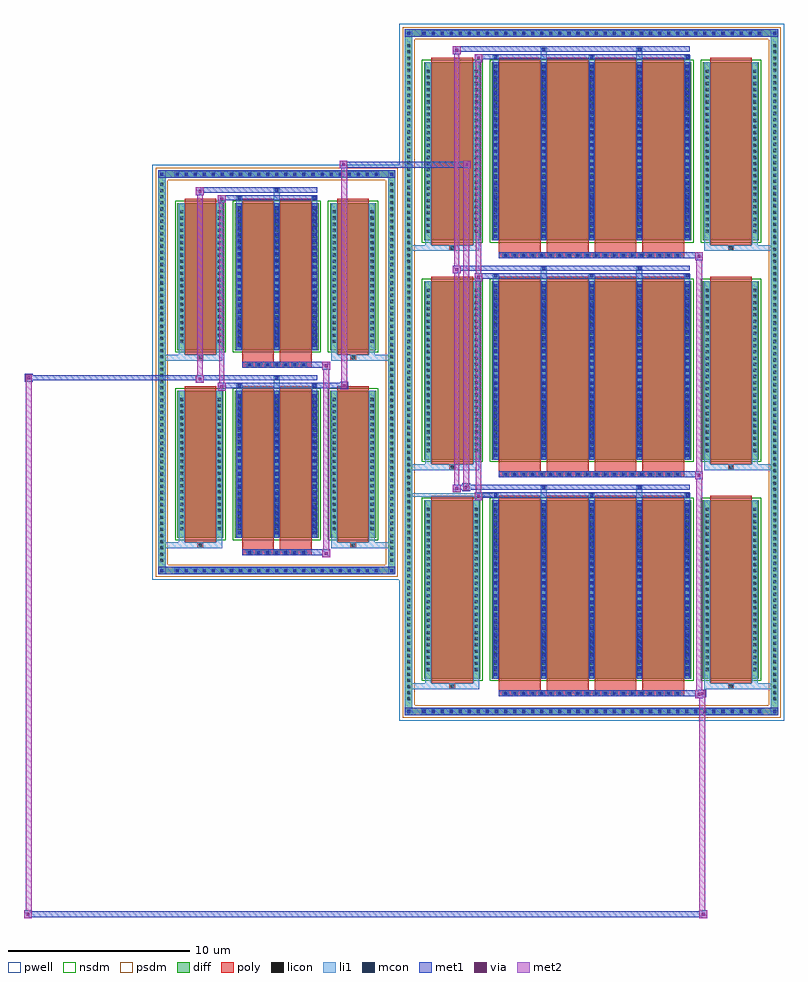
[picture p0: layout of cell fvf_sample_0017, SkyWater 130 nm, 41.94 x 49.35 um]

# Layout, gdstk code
import gdstk
lib = gdstk.Library(unit=1e-6, precision=1e-09)
def R(c, l, rs):  # rectangles x0, y0, x1, y1
    for r in rs: c.add(gdstk.rectangle(r[:2], r[2:], *l))
def A(c, l, x, y, w, h, nx, ny, dx, dy):  # array of equal rectangles
    R(c, l, [(x+i*dx, y+j*dy, x+i*dx+w, y+j*dy+h) for i in range(nx) for j in range(ny)])
def P(c, l, *ps):  # polygons
    for p in ps: c.add(gdstk.Polygon(p, *l))
pwell = (64, 44)
diff = (65, 20)
poly = (66, 20)
licon = (66, 44)
li1 = (67, 20)
mcon = (67, 44)
met1 = (68, 20)
via = (68, 44)
met2 = (69, 20)
nsdm = (93, 44)
psdm = (94, 20)

fvf_sample_0017 = lib.new_cell('fvf_sample_0017')
R(fvf_sample_0017, pwell, [(6.759,-19.232,27.989,19.232), (-6.859,-11.456,6.859,11.456)])
A(fvf_sample_0017, diff, 7.919, -18.922, 0.41, 0.41, 38, 2, 0.5, 37.434)
A(fvf_sample_0017, diff, 7.069, -18.225, 0.41, 0.41, 1, 107, 0, 0.34)
A(fvf_sample_0017, diff, 27.269, -18.225, 0.41, 0.41, 1, 107, 0, 0.34)
A(fvf_sample_0017, diff, 8.139, -16.901, 3.09, 9.842, 1, 3, 0, 12.088)
A(fvf_sample_0017, diff, 11.869, -16.901, 11.01, 9.842, 1, 3, 0, 12.088)
A(fvf_sample_0017, diff, 23.519, -16.901, 3.09, 9.842, 1, 3, 0, 12.088)
A(fvf_sample_0017, diff, -5.705, -11.146, 0.41, 0.41, 23, 2, 0.5, 21.882)
A(fvf_sample_0017, diff, -6.549, -10.575, 0.41, 0.41, 1, 62, 0, 0.34)
A(fvf_sample_0017, diff, 6.139, -10.575, 0.41, 0.41, 1, 62, 0, 0.34)
R(fvf_sample_0017, diff, [(7.919,-18.922,26.829,-18.512), (7.069,-18.225,7.479,18.225), (27.269,-18.225,27.679,18.225), (-5.705,-11.146,5.705,-10.736), (-6.549,-10.575,-6.139,10.575), (6.139,-10.575,6.549,10.575), (-5.479,-9.125,-2.947,-1.015), (-2.307,-9.125,2.307,-1.015), (2.947,-9.125,5.479,-1.015), (-5.479,1.231,-2.947,9.341), (-2.307,1.231,2.307,9.341), (2.947,1.231,5.479,9.341), (-5.705,10.736,5.705,11.146), (7.919,18.512,26.829,18.922)])
P(fvf_sample_0017, diff, [(6.549,11.146),(-6.549,11.146),(-6.549,-10.736),(-6.139,-10.736),(-6.139,10.736),(6.139,10.736),(6.139,-10.736),(-6.139,-10.736),(-6.549,-10.736),(-6.549,-11.146),(6.549,-11.146)],
  [(27.679,18.922),(7.069,18.922),(7.069,-18.512),(7.479,-18.512),(7.479,18.512),(27.269,18.512),(27.269,-18.512),(7.479,-18.512),(7.069,-18.512),(7.069,-18.922),(27.679,-18.922)])
A(fvf_sample_0017, poly, 12.259, -17.882, 10.23, 0.33, 1, 3, 0, 12.088)
A(fvf_sample_0017, poly, 12.459, -17.882, 0.33, 0.33, 20, 3, 0.5, 12.088)
A(fvf_sample_0017, poly, 12.259, -17.552, 2.31, 0.401, 4, 3, 2.64, 12.088)
A(fvf_sample_0017, poly, 8.529, -17.151, 2.31, 10.342, 1, 3, 0, 12.088)
A(fvf_sample_0017, poly, 12.259, -17.151, 2.31, 10.342, 4, 3, 2.64, 12.088)
A(fvf_sample_0017, poly, 23.909, -17.151, 2.31, 10.342, 1, 3, 0, 12.088)
A(fvf_sample_0017, poly, -1.665, -10.106, 0.33, 0.33, 7, 2, 0.5, 10.356)
R(fvf_sample_0017, poly, [(9.519,-17.481,9.849,-17.151), (9.519,-17.481,9.849,-17.151), (24.899,-17.481,25.229,-17.151), (24.899,-17.481,25.229,-17.151), (-1.917,-10.106,1.917,-9.776), (-1.917,-9.776,-0.165,-9.375), (0.165,-9.776,1.917,-9.375), (-4.378,-9.705,-4.048,-9.375), (-4.378,-9.705,-4.048,-9.375), (4.048,-9.705,4.378,-9.375), (4.048,-9.705,4.378,-9.375), (-5.089,-9.375,-3.337,-0.765), (-1.917,-9.375,-0.165,-0.765), (0.165,-9.375,1.917,-0.765), (3.337,-9.375,5.089,-0.765), (9.519,-5.393,9.849,-5.063), (9.519,-5.393,9.849,-5.063), (24.899,-5.393,25.229,-5.063), (24.899,-5.393,25.229,-5.063), (-1.917,0.25,1.917,0.58), (-1.917,0.58,-0.165,0.981), (0.165,0.58,1.917,0.981), (-4.378,0.651,-4.048,0.981), (-4.378,0.651,-4.048,0.981), (4.048,0.651,4.378,0.981), (4.048,0.651,4.378,0.981), (-5.089,0.981,-3.337,9.591), (-1.917,0.981,-0.165,9.591), (0.165,0.981,1.917,9.591), (3.337,0.981,5.089,9.591), (9.519,6.695,9.849,7.025), (9.519,6.695,9.849,7.025), (24.899,6.695,25.229,7.025), (24.899,6.695,25.229,7.025)])
A(fvf_sample_0017, licon, 8.039, -18.802, 0.17, 0.17, 38, 2, 0.5, 37.434)
A(fvf_sample_0017, licon, 7.189, -18.105, 0.17, 0.17, 1, 107, 0, 0.34)
A(fvf_sample_0017, licon, 27.389, -18.105, 0.17, 0.17, 1, 107, 0, 0.34)
A(fvf_sample_0017, licon, 12.539, -17.802, 0.17, 0.17, 20, 3, 0.5, 12.088)
A(fvf_sample_0017, licon, 9.599, -17.401, 0.17, 0.17, 1, 3, 0, 12.088)
A(fvf_sample_0017, licon, 24.979, -17.401, 0.17, 0.17, 1, 3, 0, 12.088)
A(fvf_sample_0017, licon, 8.279, -16.485, 0.17, 0.17, 1, 27, 0, 0.34)
A(fvf_sample_0017, licon, 10.919, -16.485, 0.17, 0.17, 1, 27, 0, 0.34)
A(fvf_sample_0017, licon, 12.009, -16.485, 0.17, 0.17, 5, 27, 2.64, 0.34)
A(fvf_sample_0017, licon, 23.659, -16.485, 0.17, 0.17, 1, 27, 0, 0.34)
A(fvf_sample_0017, licon, 26.299, -16.485, 0.17, 0.17, 1, 27, 0, 0.34)
A(fvf_sample_0017, licon, -5.585, -11.026, 0.17, 0.17, 23, 2, 0.5, 21.882)
A(fvf_sample_0017, licon, -6.429, -10.455, 0.17, 0.17, 1, 62, 0, 0.34)
A(fvf_sample_0017, licon, 6.259, -10.455, 0.17, 0.17, 1, 62, 0, 0.34)
A(fvf_sample_0017, licon, -1.585, -10.026, 0.17, 0.17, 7, 2, 0.5, 10.356)
A(fvf_sample_0017, licon, -5.339, -8.725, 0.17, 0.17, 1, 22, 0, 0.34)
A(fvf_sample_0017, licon, -3.257, -8.725, 0.17, 0.17, 1, 22, 0, 0.34)
A(fvf_sample_0017, licon, -2.167, -8.725, 0.17, 0.17, 3, 22, 2.082, 0.34)
A(fvf_sample_0017, licon, 3.087, -8.725, 0.17, 0.17, 1, 22, 0, 0.34)
A(fvf_sample_0017, licon, 5.169, -8.725, 0.17, 0.17, 1, 22, 0, 0.34)
A(fvf_sample_0017, licon, 8.279, -4.397, 0.17, 0.17, 1, 27, 0, 0.34)
A(fvf_sample_0017, licon, 10.919, -4.397, 0.17, 0.17, 1, 27, 0, 0.34)
A(fvf_sample_0017, licon, 12.009, -4.397, 0.17, 0.17, 5, 27, 2.64, 0.34)
A(fvf_sample_0017, licon, 23.659, -4.397, 0.17, 0.17, 1, 27, 0, 0.34)
A(fvf_sample_0017, licon, 26.299, -4.397, 0.17, 0.17, 1, 27, 0, 0.34)
A(fvf_sample_0017, licon, -5.339, 1.631, 0.17, 0.17, 1, 22, 0, 0.34)
A(fvf_sample_0017, licon, -3.257, 1.631, 0.17, 0.17, 1, 22, 0, 0.34)
A(fvf_sample_0017, licon, -2.167, 1.631, 0.17, 0.17, 3, 22, 2.082, 0.34)
A(fvf_sample_0017, licon, 3.087, 1.631, 0.17, 0.17, 1, 22, 0, 0.34)
A(fvf_sample_0017, licon, 5.169, 1.631, 0.17, 0.17, 1, 22, 0, 0.34)
A(fvf_sample_0017, licon, 8.279, 7.691, 0.17, 0.17, 1, 27, 0, 0.34)
A(fvf_sample_0017, licon, 10.919, 7.691, 0.17, 0.17, 1, 27, 0, 0.34)
A(fvf_sample_0017, licon, 12.009, 7.691, 0.17, 0.17, 5, 27, 2.64, 0.34)
A(fvf_sample_0017, licon, 23.659, 7.691, 0.17, 0.17, 1, 27, 0, 0.34)
A(fvf_sample_0017, licon, 26.299, 7.691, 0.17, 0.17, 1, 27, 0, 0.34)
R(fvf_sample_0017, licon, [(-4.298,-9.625,-4.128,-9.455), (4.128,-9.625,4.298,-9.455), (-4.298,0.731,-4.128,0.901), (4.128,0.731,4.298,0.901)])
A(fvf_sample_0017, li1, 7.959, -18.882, 0.33, 0.33, 38, 2, 0.5, 37.434)
A(fvf_sample_0017, li1, 7.109, -18.185, 0.33, 0.33, 1, 107, 0, 0.34)
A(fvf_sample_0017, li1, 27.309, -18.185, 0.33, 0.33, 1, 107, 0, 0.34)
A(fvf_sample_0017, li1, 12.459, -17.882, 0.33, 0.33, 20, 3, 0.5, 12.088)
A(fvf_sample_0017, li1, 7.069, -17.481, 2.45, 0.33, 1, 3, 0, 12.088)
A(fvf_sample_0017, li1, 8.199, -17.481, 0.33, 0.58, 1, 3, 0, 12.088)
A(fvf_sample_0017, li1, 8.199, -17.481, 1.32, 0.33, 1, 3, 0, 12.088)
A(fvf_sample_0017, li1, 9.519, -17.481, 0.33, 0.33, 1, 3, 0, 12.088)
A(fvf_sample_0017, li1, 9.849, -17.481, 1.32, 0.33, 1, 3, 0, 12.088)
A(fvf_sample_0017, li1, 10.839, -17.481, 0.33, 0.58, 1, 3, 0, 12.088)
A(fvf_sample_0017, li1, 23.579, -17.481, 0.33, 0.58, 1, 3, 0, 12.088)
A(fvf_sample_0017, li1, 23.579, -17.481, 1.32, 0.33, 1, 3, 0, 12.088)
A(fvf_sample_0017, li1, 24.899, -17.481, 0.33, 0.33, 1, 3, 0, 12.088)
A(fvf_sample_0017, li1, 24.899, -17.481, 2.78, 0.33, 1, 3, 0, 12.088)
A(fvf_sample_0017, li1, 25.229, -17.481, 1.32, 0.33, 1, 3, 0, 12.088)
A(fvf_sample_0017, li1, 26.219, -17.481, 0.33, 0.58, 1, 3, 0, 12.088)
A(fvf_sample_0017, li1, 8.199, -16.901, 0.33, 9.842, 1, 3, 0, 12.088)
A(fvf_sample_0017, li1, 10.839, -16.901, 0.33, 9.842, 1, 3, 0, 12.088)
A(fvf_sample_0017, li1, 11.929, -16.901, 0.33, 9.842, 5, 3, 2.64, 12.088)
A(fvf_sample_0017, li1, 23.579, -16.901, 0.33, 9.842, 1, 3, 0, 12.088)
A(fvf_sample_0017, li1, 26.219, -16.901, 0.33, 9.842, 1, 3, 0, 12.088)
A(fvf_sample_0017, li1, 12.009, -16.745, 0.17, 0.17, 5, 27, 2.64, 0.36)
A(fvf_sample_0017, li1, 12.009, -16.745, 0.17, 9.53, 5, 3, 2.64, 12.088)
A(fvf_sample_0017, li1, 8.199, -16.565, 0.33, 0.33, 1, 27, 0, 0.34)
A(fvf_sample_0017, li1, 10.839, -16.565, 0.33, 0.33, 1, 27, 0, 0.34)
A(fvf_sample_0017, li1, 11.929, -16.565, 0.33, 0.33, 5, 27, 2.64, 0.34)
A(fvf_sample_0017, li1, 23.579, -16.565, 0.33, 0.33, 1, 27, 0, 0.34)
A(fvf_sample_0017, li1, 26.219, -16.565, 0.33, 0.33, 1, 27, 0, 0.34)
A(fvf_sample_0017, li1, -5.665, -11.106, 0.33, 0.33, 23, 2, 0.5, 21.882)
A(fvf_sample_0017, li1, -6.509, -10.535, 0.33, 0.33, 1, 62, 0, 0.34)
A(fvf_sample_0017, li1, 6.179, -10.535, 0.33, 0.33, 1, 62, 0, 0.34)
A(fvf_sample_0017, li1, -1.665, -10.106, 0.33, 0.33, 7, 2, 0.5, 10.356)
A(fvf_sample_0017, li1, -2.247, -9.125, 0.33, 8.11, 3, 2, 2.082, 10.356)
A(fvf_sample_0017, li1, -2.167, -8.935, 0.17, 0.17, 3, 22, 2.082, 0.36)
A(fvf_sample_0017, li1, -2.167, -8.935, 0.17, 7.73, 3, 2, 2.082, 10.356)
A(fvf_sample_0017, li1, -5.419, -8.805, 0.33, 0.33, 1, 22, 0, 0.34)
A(fvf_sample_0017, li1, -3.337, -8.805, 0.33, 0.33, 1, 22, 0, 0.34)
A(fvf_sample_0017, li1, -2.247, -8.805, 0.33, 0.33, 3, 22, 2.082, 0.34)
A(fvf_sample_0017, li1, 3.007, -8.805, 0.33, 0.33, 1, 22, 0, 0.34)
A(fvf_sample_0017, li1, 5.089, -8.805, 0.33, 0.33, 1, 22, 0, 0.34)
A(fvf_sample_0017, li1, 11.929, -7.059, 0.33, 0.375, 3, 3, 5.28, 12.088)
A(fvf_sample_0017, li1, 14.569, -7.059, 0.33, 0.805, 1, 3, 0, 12.088)
A(fvf_sample_0017, li1, 19.849, -7.059, 0.33, 0.805, 1, 3, 0, 12.088)
A(fvf_sample_0017, li1, 12.009, -6.854, 0.17, 0.17, 3, 3, 5.28, 12.088)
A(fvf_sample_0017, li1, 14.649, -6.424, 0.17, 0.17, 1, 3, 0, 12.088)
A(fvf_sample_0017, li1, 19.929, -6.424, 0.17, 0.17, 1, 3, 0, 12.088)
A(fvf_sample_0017, li1, 12.009, -4.657, 0.17, 0.17, 5, 27, 2.64, 0.36)
A(fvf_sample_0017, li1, 8.199, -4.477, 0.33, 0.33, 1, 27, 0, 0.34)
A(fvf_sample_0017, li1, 10.839, -4.477, 0.33, 0.33, 1, 27, 0, 0.34)
A(fvf_sample_0017, li1, 11.929, -4.477, 0.33, 0.33, 5, 27, 2.64, 0.34)
A(fvf_sample_0017, li1, 23.579, -4.477, 0.33, 0.33, 1, 27, 0, 0.34)
A(fvf_sample_0017, li1, 26.219, -4.477, 0.33, 0.33, 1, 27, 0, 0.34)
A(fvf_sample_0017, li1, -2.167, 1.421, 0.17, 0.17, 3, 22, 2.082, 0.36)
A(fvf_sample_0017, li1, -5.419, 1.551, 0.33, 0.33, 1, 22, 0, 0.34)
A(fvf_sample_0017, li1, -3.337, 1.551, 0.33, 0.33, 1, 22, 0, 0.34)
A(fvf_sample_0017, li1, -2.247, 1.551, 0.33, 0.33, 3, 22, 2.082, 0.34)
A(fvf_sample_0017, li1, 3.007, 1.551, 0.33, 0.33, 1, 22, 0, 0.34)
A(fvf_sample_0017, li1, 5.089, 1.551, 0.33, 0.33, 1, 22, 0, 0.34)
A(fvf_sample_0017, li1, 12.009, 7.431, 0.17, 0.17, 5, 27, 2.64, 0.36)
A(fvf_sample_0017, li1, 8.199, 7.611, 0.33, 0.33, 1, 27, 0, 0.34)
A(fvf_sample_0017, li1, 10.839, 7.611, 0.33, 0.33, 1, 27, 0, 0.34)
A(fvf_sample_0017, li1, 11.929, 7.611, 0.33, 0.33, 5, 27, 2.64, 0.34)
A(fvf_sample_0017, li1, 23.579, 7.611, 0.33, 0.33, 1, 27, 0, 0.34)
A(fvf_sample_0017, li1, 26.219, 7.611, 0.33, 0.33, 1, 27, 0, 0.34)
R(fvf_sample_0017, li1, [(7.069,-18.922,7.479,-18.512), (27.269,-18.922,27.679,-18.512), (7.959,-18.882,26.789,-18.552), (7.189,-18.802,7.359,-18.632), (7.189,-18.802,7.359,-18.632), (27.389,-18.802,27.559,-18.632), (27.389,-18.802,27.559,-18.632), (7.069,-18.512,7.479,18.512), (27.269,-18.512,27.679,18.512), (-6.549,-11.146,-6.139,-10.736), (6.139,-11.146,6.549,-10.736), (-5.665,-11.106,5.665,-10.776), (-6.429,-11.026,-6.259,-10.856), (-6.429,-11.026,-6.259,-10.856), (6.259,-11.026,6.429,-10.856), (6.259,-11.026,6.429,-10.856), (-6.549,-10.736,-6.139,10.736), (6.139,-10.736,6.549,10.736), (-6.549,-9.705,-4.378,-9.375), (-5.419,-9.705,-4.378,-9.375), (-5.419,-9.705,-5.089,-9.125), (-4.378,-9.705,-4.048,-9.375), (-4.048,-9.705,-3.007,-9.375), (-3.337,-9.705,-3.007,-9.125), (3.007,-9.705,4.048,-9.375), (3.007,-9.705,3.337,-9.125), (4.048,-9.705,4.378,-9.375), (4.048,-9.705,6.549,-9.375), (4.378,-9.705,5.419,-9.375), (5.089,-9.705,5.419,-9.125), (-5.419,-9.125,-5.089,-1.015), (-3.337,-9.125,-3.007,-1.015), (3.007,-9.125,3.337,-1.015), (5.089,-9.125,5.419,-1.015), (11.949,-6.914,12.239,-6.624), (7.069,-6.869,11.949,-6.669), (12.009,-6.854,12.179,-6.684), (-2.247,-1.015,-1.917,-0.64), (-0.165,-1.015,0.165,-0.21), (1.917,-1.015,2.247,-0.64), (-2.167,-0.81,-1.997,-0.64), (1.997,-0.81,2.167,-0.64), (-0.085,-0.38,0.085,-0.21), (-6.549,0.651,-4.378,0.981), (-5.419,0.651,-4.378,0.981), (-5.419,0.651,-5.089,1.231), (-4.378,0.651,-4.048,0.981), (-4.048,0.651,-3.007,0.981), (-3.337,0.651,-3.007,1.231), (3.007,0.651,4.048,0.981), (3.007,0.651,3.337,1.231), (4.048,0.651,4.378,0.981), (4.048,0.651,6.549,0.981), (4.378,0.651,5.419,0.981), (5.089,0.651,5.419,1.231), (-5.419,1.231,-5.089,9.341), (-3.337,1.231,-3.007,9.341), (3.007,1.231,3.337,9.341), (5.089,1.231,5.419,9.341), (-2.247,9.341,-1.917,9.716), (-0.165,9.341,0.165,10.146), (1.917,9.341,2.247,9.716), (-2.167,9.546,-1.997,9.716), (1.997,9.546,2.167,9.716), (-0.085,9.976,0.085,10.146), (-6.549,10.736,-6.139,11.146), (6.139,10.736,6.549,11.146), (-5.665,10.776,5.665,11.106), (-6.429,10.856,-6.259,11.026), (-6.429,10.856,-6.259,11.026), (6.259,10.856,6.429,11.026), (6.259,10.856,6.429,11.026), (7.069,18.512,7.479,18.922), (27.269,18.512,27.679,18.922), (7.959,18.552,26.789,18.882), (7.189,18.632,7.359,18.802), (7.189,18.632,7.359,18.802), (27.389,18.632,27.559,18.802), (27.389,18.632,27.559,18.802)])
A(fvf_sample_0017, mcon, 8.039, -18.802, 0.17, 0.17, 38, 2, 0.5, 37.434)
A(fvf_sample_0017, mcon, 12.539, -17.802, 0.17, 0.17, 20, 3, 0.5, 12.088)
A(fvf_sample_0017, mcon, 12.009, -16.745, 0.17, 0.17, 5, 27, 2.64, 0.36)
A(fvf_sample_0017, mcon, -5.585, -11.026, 0.17, 0.17, 23, 2, 0.5, 21.882)
A(fvf_sample_0017, mcon, -1.585, -10.026, 0.17, 0.17, 7, 2, 0.5, 10.356)
A(fvf_sample_0017, mcon, -2.167, -8.935, 0.17, 0.17, 3, 22, 2.082, 0.36)
A(fvf_sample_0017, mcon, 12.009, -6.854, 0.17, 0.17, 3, 3, 5.28, 12.088)
A(fvf_sample_0017, mcon, 14.649, -6.424, 0.17, 0.17, 1, 3, 0, 12.088)
A(fvf_sample_0017, mcon, 19.929, -6.424, 0.17, 0.17, 1, 3, 0, 12.088)
A(fvf_sample_0017, mcon, 12.009, -4.657, 0.17, 0.17, 5, 27, 2.64, 0.36)
A(fvf_sample_0017, mcon, -2.167, 1.421, 0.17, 0.17, 3, 22, 2.082, 0.36)
A(fvf_sample_0017, mcon, 12.009, 7.431, 0.17, 0.17, 5, 27, 2.64, 0.36)
R(fvf_sample_0017, mcon, [(7.189,-18.802,7.359,-18.632), (27.389,-18.802,27.559,-18.632), (-6.429,-11.026,-6.259,-10.856), (6.259,-11.026,6.429,-10.856), (12.009,-6.854,12.179,-6.684), (-2.167,-0.81,-1.997,-0.64), (1.997,-0.81,2.167,-0.64), (-0.085,-0.38,0.085,-0.21), (-2.167,9.546,-1.997,9.716), (1.997,9.546,2.167,9.716), (-0.085,9.976,0.085,10.146), (-6.429,10.856,-6.259,11.026), (6.259,10.856,6.429,11.026), (7.189,18.632,7.359,18.802), (27.389,18.632,27.559,18.802)])
A(fvf_sample_0017, met1, 7.979, -18.862, 0.29, 0.29, 38, 2, 0.5, 37.434)
A(fvf_sample_0017, met1, 12.259, -17.882, 10.23, 0.33, 1, 3, 0, 12.088)
A(fvf_sample_0017, met1, 12.479, -17.862, 0.29, 0.29, 20, 3, 0.5, 12.088)
A(fvf_sample_0017, met1, 11.949, -16.901, 0.29, 9.842, 5, 3, 2.64, 12.088)
A(fvf_sample_0017, met1, 11.949, -16.805, 0.29, 0.29, 5, 27, 2.64, 0.36)
A(fvf_sample_0017, met1, -5.645, -11.086, 0.29, 0.29, 23, 2, 0.5, 21.882)
A(fvf_sample_0017, met1, -1.645, -10.086, 0.29, 0.29, 7, 2, 0.5, 10.356)
A(fvf_sample_0017, met1, -2.227, -9.125, 0.29, 8.11, 3, 2, 2.082, 10.356)
A(fvf_sample_0017, met1, -2.227, -8.995, 0.29, 0.29, 3, 22, 2.082, 0.36)
A(fvf_sample_0017, met1, 11.949, -6.914, 0.29, 0.29, 3, 3, 5.28, 12.088)
A(fvf_sample_0017, met1, 14.589, -6.484, 0.29, 0.29, 1, 3, 0, 12.088)
A(fvf_sample_0017, met1, 19.869, -6.484, 0.29, 0.29, 1, 3, 0, 12.088)
A(fvf_sample_0017, met1, 11.949, -4.717, 0.29, 0.29, 5, 27, 2.64, 0.36)
A(fvf_sample_0017, met1, -2.227, 1.361, 0.29, 0.29, 3, 22, 2.082, 0.36)
A(fvf_sample_0017, met1, 11.949, 7.371, 0.29, 0.29, 5, 27, 2.64, 0.36)
R(fvf_sample_0017, met1, [(-13.948,-30.122,-13.518,-29.692), (23.324,-30.122,23.754,-29.692), (-13.948,-30.072,23.754,-29.742), (-13.948,-29.742,-13.518,-29.692), (23.324,-29.742,23.754,-29.692), (7.069,-18.922,7.479,-18.512), (7.069,-18.922,7.479,-18.512), (7.479,-18.922,27.269,-18.512), (27.269,-18.922,27.679,-18.512), (27.269,-18.922,27.679,-18.512), (7.129,-18.862,7.419,-18.572), (27.329,-18.862,27.619,-18.572), (23.089,-17.982,23.519,-17.552), (23.274,-17.932,23.704,-17.502), (22.489,-17.882,23.519,-17.552), (22.489,-17.882,23.274,-17.552), (-6.549,-11.146,-6.139,-10.736), (-6.549,-11.146,-6.139,-10.736), (-6.139,-11.146,6.139,-10.736), (6.139,-11.146,6.549,-10.736), (6.139,-11.146,6.549,-10.736), (-6.489,-11.086,-6.199,-10.796), (6.199,-11.086,6.489,-10.796), (2.517,-10.206,2.947,-9.776), (-1.917,-10.106,1.917,-9.776), (1.917,-10.106,2.947,-9.776), (10.919,-7.054,11.349,-6.624), (10.919,-6.914,11.949,-6.624), (11.949,-6.914,12.239,-6.624), (11.949,-6.914,22.799,-6.624), (9.719,-6.624,10.149,-6.194), (10.234,-6.554,10.664,-6.124), (9.719,-6.484,11.949,-6.194), (10.664,-6.484,11.949,-6.194), (11.949,-6.484,22.799,-6.194), (23.089,-5.894,23.519,-5.464), (23.089,-5.894,23.519,-5.464), (22.489,-5.794,23.519,-5.464), (22.489,-5.794,23.519,-5.464), (-3.257,-1.01,-2.827,-0.58), (3.512,-0.94,3.942,-0.51), (-3.257,-0.87,-2.227,-0.58), (-2.227,-0.87,-1.937,-0.58), (-2.227,-0.87,2.227,-0.58), (1.937,-0.87,2.227,-0.58), (2.227,-0.87,3.512,-0.58), (-4.457,-0.58,-4.027,-0.15), (-13.898,-0.51,-13.468,-0.08), (-13.468,-0.44,-2.227,-0.15), (-4.457,-0.44,-2.227,-0.15), (-2.227,-0.44,2.227,-0.15), (-0.145,-0.44,0.145,-0.15), (2.517,0.15,2.947,0.58), (-1.917,0.25,1.917,0.58), (1.917,0.25,2.947,0.58), (10.919,5.034,11.349,5.464), (10.919,5.034,11.349,5.464), (10.919,5.174,11.949,5.464), (10.919,5.174,11.949,5.464), (11.949,5.174,22.799,5.464), (9.719,5.464,10.149,5.894), (9.719,5.464,10.149,5.894), (9.719,5.604,11.949,5.894), (9.719,5.604,11.949,5.894), (11.949,5.604,22.799,5.894), (23.089,6.194,23.519,6.624), (22.489,6.294,23.519,6.624), (-3.257,9.346,-2.827,9.776), (-3.257,9.486,-2.227,9.776), (-2.227,9.486,-1.937,9.776), (-2.227,9.486,2.227,9.776), (1.937,9.486,2.227,9.776), (-4.457,9.776,-4.027,10.206), (-4.457,9.916,-2.227,10.206), (-2.227,9.916,2.227,10.206), (-0.145,9.916,0.145,10.206), (-6.549,10.736,-6.139,11.146), (-6.549,10.736,-6.139,11.146), (-6.139,10.736,6.139,11.146), (6.139,10.736,6.549,11.146), (6.139,10.736,6.549,11.146), (-6.489,10.796,-6.199,11.086), (6.199,10.796,6.489,11.086), (3.462,11.25,3.892,11.68), (10.284,11.25,10.714,11.68), (3.462,11.3,10.714,11.63), (3.462,11.63,3.892,11.68), (10.284,11.63,10.714,11.68), (10.919,17.122,11.349,17.552), (10.919,17.262,11.949,17.552), (11.949,17.262,22.799,17.552), (9.719,17.552,10.149,17.982), (9.719,17.692,11.949,17.982), (11.949,17.692,22.799,17.982), (7.069,18.512,7.479,18.922), (7.069,18.512,7.479,18.922), (7.479,18.512,27.269,18.922), (27.269,18.512,27.679,18.922), (27.269,18.512,27.679,18.922), (7.129,18.572,7.419,18.862), (27.329,18.572,27.619,18.862)])
R(fvf_sample_0017, via, [(-13.808,-29.982,-13.658,-29.832), (23.464,-29.982,23.614,-29.832), (23.229,-17.842,23.379,-17.692), (23.414,-17.792,23.564,-17.642), (2.657,-10.066,2.807,-9.916), (11.059,-6.914,11.209,-6.764), (9.859,-6.484,10.009,-6.334), (10.374,-6.414,10.524,-6.264), (23.229,-5.754,23.379,-5.604), (23.229,-5.754,23.379,-5.604), (-3.117,-0.87,-2.967,-0.72), (3.652,-0.8,3.802,-0.65), (-4.317,-0.44,-4.167,-0.29), (-13.758,-0.37,-13.608,-0.22), (2.657,0.29,2.807,0.44), (11.059,5.174,11.209,5.324), (11.059,5.174,11.209,5.324), (9.859,5.604,10.009,5.754), (9.859,5.604,10.009,5.754), (23.229,6.334,23.379,6.484), (-3.117,9.486,-2.967,9.636), (-4.317,9.916,-4.167,10.066), (3.602,11.39,3.752,11.54), (10.424,11.39,10.574,11.54), (11.059,17.262,11.209,17.412), (9.859,17.692,10.009,17.842)])
R(fvf_sample_0017, met2, [(-13.948,-30.122,-13.518,-29.692), (-13.848,-30.122,-13.518,-0.46), (23.324,-30.122,23.754,-29.692), (23.324,-30.122,23.654,-17.882), (-13.898,-30.072,-13.568,-29.742), (23.374,-30.072,23.704,-29.742), (23.089,-17.982,23.519,-17.552), (23.139,-17.982,23.469,-5.464), (23.469,-17.982,23.519,-17.552), (23.139,-17.932,23.469,-17.602), (23.324,-17.882,23.654,-17.552), (2.517,-10.206,2.947,-9.776), (2.567,-10.206,2.897,0.58), (2.897,-10.206,2.947,-9.776), (2.567,-10.156,2.897,-9.826), (10.919,-7.054,11.349,-6.624), (10.989,-7.054,11.279,5.464), (11.279,-7.054,11.349,-6.624), (10.969,-7.004,11.299,-6.674), (9.719,-6.624,10.149,-6.194), (9.789,-6.624,10.079,5.894), (10.079,-6.624,10.149,-6.194), (9.769,-6.574,10.099,-6.244), (10.284,-6.504,10.614,-6.174), (10.284,-6.174,10.614,11.68), (23.089,-5.894,23.519,-5.464), (23.089,-5.894,23.519,-5.464), (23.139,-5.894,23.469,6.624), (23.469,-5.894,23.519,-5.464), (23.469,-5.894,23.519,-5.464), (23.139,-5.844,23.469,-5.514), (23.139,-5.844,23.469,-5.514), (-3.257,-1.01,-2.827,-0.58), (-3.187,-1.01,-2.897,9.776), (-2.897,-1.01,-2.827,-0.58), (-3.207,-0.96,-2.877,-0.63), (3.562,-0.89,3.892,-0.56), (-4.457,-0.58,-4.027,-0.15), (-4.387,-0.58,-4.097,10.206), (-4.097,-0.58,-4.027,-0.15), (3.562,-0.56,3.892,11.68), (-4.407,-0.53,-4.077,-0.2), (-13.848,-0.46,-13.518,-0.13), (2.517,0.15,2.947,0.58), (2.897,0.15,2.947,0.58), (2.567,0.2,2.897,0.53), (10.919,5.034,11.349,5.464), (10.919,5.034,11.349,5.464), (10.989,5.034,11.279,17.552), (11.279,5.034,11.349,5.464), (11.279,5.034,11.349,5.464), (10.969,5.084,11.299,5.414), (10.969,5.084,11.299,5.414), (9.719,5.464,10.149,5.894), (9.719,5.464,10.149,5.894), (9.789,5.464,10.079,17.982), (10.079,5.464,10.149,5.894), (10.079,5.464,10.149,5.894), (9.769,5.514,10.099,5.844), (9.769,5.514,10.099,5.844), (23.089,6.194,23.519,6.624), (23.469,6.194,23.519,6.624), (23.139,6.244,23.469,6.574), (-3.257,9.346,-2.827,9.776), (-2.897,9.346,-2.827,9.776), (-3.207,9.396,-2.877,9.726), (-4.457,9.776,-4.027,10.206), (-4.097,9.776,-4.027,10.206), (-4.407,9.826,-4.077,10.156), (3.462,11.25,3.892,11.68), (10.284,11.25,10.714,11.68), (3.512,11.3,3.842,11.63), (10.334,11.3,10.664,11.63), (10.919,17.122,11.349,17.552), (11.279,17.122,11.349,17.552), (10.969,17.172,11.299,17.502), (9.719,17.552,10.149,17.982), (10.079,17.552,10.149,17.982), (9.769,17.602,10.099,17.932)])
A(fvf_sample_0017, nsdm, 8.009, -17.031, 3.35, 10.102, 1, 3, 0, 12.088)
A(fvf_sample_0017, nsdm, 11.739, -17.031, 11.27, 10.102, 1, 3, 0, 12.088)
A(fvf_sample_0017, nsdm, 23.389, -17.031, 3.35, 10.102, 1, 3, 0, 12.088)
R(fvf_sample_0017, nsdm, [(-5.609,-9.255,-2.817,-0.885), (-2.437,-9.255,2.437,-0.885), (2.817,-9.255,5.609,-0.885), (-5.609,1.101,-2.817,9.471), (-2.437,1.101,2.437,9.471), (2.817,1.101,5.609,9.471)])
P(fvf_sample_0017, psdm, [(6.679,11.276),(-6.679,11.276),(-6.679,-10.606),(-6.009,-10.606),(-6.009,10.606),(6.009,10.606),(6.009,-10.606),(-6.009,-10.606),(-6.679,-10.606),(-6.679,-11.276),(6.679,-11.276)],
  [(27.809,19.052),(6.939,19.052),(6.939,-18.382),(7.609,-18.382),(7.609,18.382),(27.139,18.382),(27.139,-18.382),(7.609,-18.382),(6.939,-18.382),(6.939,-19.052),(27.809,-19.052)])

lib.write_gds('fvf_sample_0017.gds')
